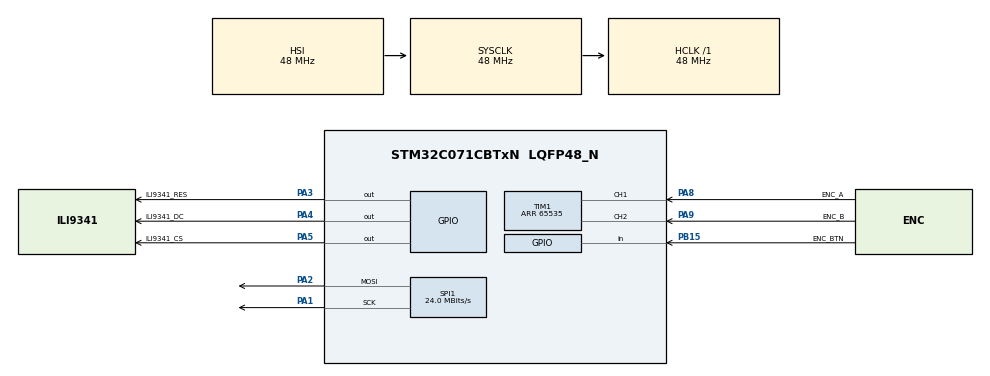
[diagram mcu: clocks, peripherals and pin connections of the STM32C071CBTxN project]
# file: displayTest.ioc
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Mcu.Family=STM32C0
Mcu.Name=STM32C071CBTxN
Mcu.Package=LQFP48_N
PA1.GPIO_Speed=GPIO_SPEED_FREQ_VERY_HIGH
PA1.Mode=TX_Only_Simplex_Unidirect_Master
PA1.Signal=SPI1_SCK
PA13.Mode=Serial_Wire
PA13.Signal=DEBUG_SWDIO
PA14-BOOT0.Mode=Serial_Wire
PA14-BOOT0.Signal=DEBUG_SWCLK
PA2.GPIO_Speed=GPIO_SPEED_FREQ_VERY_HIGH
PA2.Mode=TX_Only_Simplex_Unidirect_Master
PA2.Signal=SPI1_MOSI
PA3.GPIO_Label=ILI9341_RES
PA3.GPIO_Speed=GPIO_SPEED_FREQ_VERY_HIGH
PA3.PinState=GPIO_PIN_SET
PA3.Signal=GPIO_Output
PA4.GPIO_Label=ILI9341_DC
PA4.GPIO_Speed=GPIO_SPEED_FREQ_VERY_HIGH
PA4.Signal=GPIO_Output
PA5.GPIO_Label=ILI9341_CS
PA5.GPIO_Speed=GPIO_SPEED_FREQ_VERY_HIGH
PA5.PinState=GPIO_PIN_SET
PA5.Signal=GPIO_Output
PA8.GPIO_Label=ENC_A
PA8.Signal=S_TIM1_CH1
PA9.GPIO_Label=ENC_B
PA9.Signal=S_TIM1_CH2
PB15.GPIO_Label=ENC_BTN
PB15.Signal=GPIO_Input
ProjectManager.HeapSize=0x200
ProjectManager.StackSize=0x400
ProjectManager.TargetToolchain=STM32CubeIDE
RCC.ADCFreq_Value=48000000
RCC.AHBFreq_Value=48000000
RCC.CortexFreq_Value=48000000
RCC.EXTERNAL_CLOCK_VALUE=12288000
RCC.HCLKFreq_Value=48000000
RCC.HSE_VALUE=8000000
RCC.HSI48_VALUE=48000000
RCC.HSISYSCLKDivider=RCC_HSI_DIV1
RCC.HSI_VALUE=48000000
RCC.LSE_VALUE=32768
RCC.SYSCLKFreq_VALUE=48000000
SH.S_TIM1_CH1.0=TIM1_CH1,Encoder_Interface
SH.S_TIM1_CH2.0=TIM1_CH2,Encoder_Interface
SPI1.BaudRatePrescaler=SPI_BAUDRATEPRESCALER_2
SPI1.CLKPhase=SPI_PHASE_1EDGE
SPI1.CLKPolarity=SPI_POLARITY_HIGH
SPI1.CalculateBaudRate=24.0 MBits/s
SPI1.DataSize=SPI_DATASIZE_8BIT
SPI1.Direction=SPI_DIRECTION_2LINES
SPI1.FirstBit=SPI_FIRSTBIT_MSB
SPI1.Mode=SPI_MODE_MASTER
SPI1.VirtualType=VM_MASTER
TIM1.EncoderMode=TIM_ENCODERMODE_TI12
TIM1.Period=65535
board=custom

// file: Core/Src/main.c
/* USER CODE BEGIN Header */
/**
  ******************************************************************************
  * @file           : main.c
  * @brief          : Main program body
  ******************************************************************************
  * @attention
  *
  * Copyright (c) 2026 STMicroelectronics.
  * All rights reserved.
  *
  * This software is licensed under terms that can be found in the LICENSE file
  * in the root directory of this software component.
  * If no LICENSE file comes with this software, it is provided AS-IS.
  *
  ******************************************************************************
  */
/* USER CODE END Header */
#include "main.h"

/* USER CODE BEGIN Includes */
#include "ili9341.h"
#include "fonts.h"
#include "gui.h" // Включваме новия UI модул
#include "simulator.h"
/* USER CODE END Includes */

/* USER CODE BEGIN PD */
//#define SWEEP_STEP_V   0.8

/* USER CODE END PD */

SPI_HandleTypeDef hspi1;

TIM_HandleTypeDef htim1;

/* USER CODE BEGIN PV */
extern SPI_HandleTypeDef hspi1;

float simulated_voltage = 0.0;
float simulated_current = 0.0;
int selected_menu = 0; // 0=LOAD OFF, 1=SWEEP, 2=SET I, 3=SETTINGS
int selected_menu_old = 0;

typedef enum {
    STATE_INIT,
    STATE_MEASURE_DATA,
    STATE_UPDATE_GUI,
    STATE_PROCESS_MENU,
    STATE_DELAY
} SystemState_t;

#define MAX_TEST_POINTS 350
static uint32_t test_v_arr[MAX_TEST_POINTS];
static uint32_t test_i_arr[MAX_TEST_POINTS];
static uint16_t test_points_count = 0;

/* USER CODE END PV */

void SystemClock_Config(void);
static void MX_GPIO_Init(void);
static void MX_SPI1_Init(void);
static void MX_TIM1_Init(void);

int main(void)
{

  /* USER CODE BEGIN 1 */
    SystemState_t current_state = STATE_INIT;

    GraphMode_t current_graph_mode = GRAPH_MODE_LINES; // Или GRAPH_MODE_LINES
    static uint16_t encoder_prev_count = 0;
    static uint8_t btn_prev_state = GPIO_PIN_SET; // Започва High заради Pull-up
    static int8_t encoder_substeps = 0; // Акумулатор за остатъчните импулси

  /* USER CODE END 1 */

  /* MCU Configuration--------------------------------------------------------*/

  /* Reset of all peripherals, Initializes the Flash interface and the Systick. */
  HAL_Init();

  /* Configure the system clock */
  SystemClock_Config();

  /* Initialize all configured peripherals */
  MX_GPIO_Init();
  MX_SPI1_Init();
  MX_TIM1_Init();
  /* USER CODE BEGIN 2 */
  // Стартираме хардуерния енкодер на двата канала
      HAL_TIM_Encoder_Start(&htim1, TIM_CHANNEL_ALL);
      // Вземаме първоначалната стойност
      encoder_prev_count = __HAL_TIM_GET_COUNTER(&htim1);
  /* USER CODE END 2 */

  /* Infinite loop */
  /* USER CODE BEGIN WHILE */
    while (1)
        {
            switch (current_state)
            {
                case STATE_INIT:
                	GUI_InitSystem();
					Simulator_Init();

					// ТЕСТ: Смяна на симулирания панел на 10W (Voc=15V, Vmp=12V, Isc=0.8A)
					SolarPanelConfig_t test_panel = {
						.voc_mV = 22000,
						.vmp_mV = 19220,
						.isc_uA = 1500000
					};
					Simulator_SetConfig(test_panel);

                    // 1. Генерираме масива еднократно при стартиране
                    bool cycle_reset = false;
                    test_points_count = 0;

                    while (!cycle_reset && test_points_count < MAX_TEST_POINTS) {
                        Simulator_GetNextMeasurement(&test_v_arr[test_points_count],
                                                     &test_i_arr[test_points_count],
                                                     &cycle_reset);
                        if (!cycle_reset) {
                            test_points_count++;
                        }
                    }

                    current_state = STATE_UPDATE_GUI; // Директно отиваме да чертаем
                    break;

                case STATE_MEASURE_DATA:
                    // Тъй като вече имаме готовия масив, за теста тук не правим нищо.
                    // В реалния код тук ще се чете ADC-то.
                    current_state = STATE_UPDATE_GUI;
                    break;

                case STATE_UPDATE_GUI:
                    // 2. Показваме стойностите на точката с максимална мощност (Vmp = 17.5V)
                    // За теста, това е някъде в последната третина на масива
					if (test_points_count > 0) {
						uint16_t vmp_index = (test_points_count * 8) / 10;
						GUI_UpdateDashboard(test_v_arr[vmp_index], test_i_arr[vmp_index]);
					}

					// ПОДАВАМЕ РЕЖИМА current_graph_mode КАТО ПОСЛЕДЕН АРГУМЕНТ
					GUI_PlotCurveArray(test_v_arr, test_i_arr, test_points_count, current_graph_mode);

					current_state = STATE_PROCESS_MENU;
					break;
                case STATE_PROCESS_MENU:
				{
					// ==========================================
					// 1. ОТЧИТАНЕ НА ВЪРТЕНЕТО (С АКУМУЛАТОР)
					// ==========================================
					uint16_t current_count = __HAL_TIM_GET_COUNTER(&htim1);

					// Вземаме мигновената разлика от предното извикване
					int16_t step_delta = (int16_t)current_count - (int16_t)encoder_prev_count;
					encoder_prev_count = current_count; // Веднага синхронизираме брояча!

					// Добавяме новите стъпки към акумулатора
					encoder_substeps += step_delta;

					// Проверка за завъртане НАДЯСНО (напред)
					while (encoder_substeps >= 4) {
						selected_menu++;
						if (selected_menu >= MENU_COUNT) {
							selected_menu = 0;
						}
						encoder_substeps -= 4;
					}

					// Проверка за завъртане НАЛЯВО (назад)
					while (encoder_substeps <= -4) {
						selected_menu--;
						if (selected_menu < 0) {
							selected_menu = MENU_COUNT - 1;
						}
						encoder_substeps += 4;
					}

					// ==========================================
					// 2. ОТЧИТАНЕ НА БУТОНА (КЛИКВАНЕ)
					// ==========================================
					uint8_t current_btn_state = HAL_GPIO_ReadPin(ENC_BTN_GPIO_Port, ENC_BTN_Pin);
					if (current_btn_state == GPIO_PIN_RESET && btn_prev_state == GPIO_PIN_SET) {
						// Обработка на натискането
					}
					btn_prev_state = current_btn_state;

					// Преначертаване на менюто
					GUI_ProcessMenu();
					current_state = STATE_DELAY;
					break;
				}

                case STATE_DELAY:
                    HAL_Delay(100); // Слагаме 100ms пауза (10 кадъра в секунда)
                    current_state = STATE_MEASURE_DATA;
                    break;

                default:
                    current_state = STATE_INIT;
                    break;
            }
    /* USER CODE END WHILE */

    }
}

void SystemClock_Config(void)
{
  RCC_OscInitTypeDef RCC_OscInitStruct = {0};
  RCC_ClkInitTypeDef RCC_ClkInitStruct = {0};

  __HAL_FLASH_SET_LATENCY(FLASH_LATENCY_1);

  /** Initializes the RCC Oscillators according to the specified parameters
  * in the RCC_OscInitTypeDef structure.
  */
  RCC_OscInitStruct.OscillatorType = RCC_OSCILLATORTYPE_HSI;
  RCC_OscInitStruct.HSIState = RCC_HSI_ON;
  RCC_OscInitStruct.HSIDiv = RCC_HSI_DIV1;
  RCC_OscInitStruct.HSICalibrationValue = RCC_HSICALIBRATION_DEFAULT;
  if (HAL_RCC_OscConfig(&RCC_OscInitStruct) != HAL_OK)
  {
    Error_Handler();
  }

  /** Initializes the CPU, AHB and APB buses clocks
  */
  RCC_ClkInitStruct.ClockType = RCC_CLOCKTYPE_HCLK|RCC_CLOCKTYPE_SYSCLK
                              |RCC_CLOCKTYPE_PCLK1;
  RCC_ClkInitStruct.SYSCLKSource = RCC_SYSCLKSOURCE_HSI;
  RCC_ClkInitStruct.SYSCLKDivider = RCC_SYSCLK_DIV1;
  RCC_ClkInitStruct.AHBCLKDivider = RCC_HCLK_DIV1;
  RCC_ClkInitStruct.APB1CLKDivider = RCC_APB1_DIV1;

  if (HAL_RCC_ClockConfig(&RCC_ClkInitStruct, FLASH_LATENCY_1) != HAL_OK)
  {
    Error_Handler();
  }
}

static void MX_SPI1_Init(void)
{

  /* SPI1 parameter configuration*/
  hspi1.Instance = SPI1;
  hspi1.Init.Mode = SPI_MODE_MASTER;
  hspi1.Init.Direction = SPI_DIRECTION_2LINES;
  hspi1.Init.DataSize = SPI_DATASIZE_8BIT;
  hspi1.Init.CLKPolarity = SPI_POLARITY_HIGH;
  hspi1.Init.CLKPhase = SPI_PHASE_1EDGE;
  hspi1.Init.NSS = SPI_NSS_SOFT;
  hspi1.Init.BaudRatePrescaler = SPI_BAUDRATEPRESCALER_2;
  hspi1.Init.FirstBit = SPI_FIRSTBIT_MSB;
  hspi1.Init.TIMode = SPI_TIMODE_DISABLE;
  hspi1.Init.CRCCalculation = SPI_CRCCALCULATION_DISABLE;
  hspi1.Init.CRCPolynomial = 7;
  hspi1.Init.CRCLength = SPI_CRC_LENGTH_DATASIZE;
  hspi1.Init.NSSPMode = SPI_NSS_PULSE_ENABLE;
  if (HAL_SPI_Init(&hspi1) != HAL_OK)
  {
    Error_Handler();
  }

}

static void MX_TIM1_Init(void)
{

  TIM_Encoder_InitTypeDef sConfig = {0};
  TIM_MasterConfigTypeDef sMasterConfig = {0};

  htim1.Instance = TIM1;
  htim1.Init.Prescaler = 0;
  htim1.Init.CounterMode = TIM_COUNTERMODE_UP;
  htim1.Init.Period = 65535;
  htim1.Init.ClockDivision = TIM_CLOCKDIVISION_DIV1;
  htim1.Init.RepetitionCounter = 0;
  htim1.Init.AutoReloadPreload = TIM_AUTORELOAD_PRELOAD_DISABLE;
  sConfig.EncoderMode = TIM_ENCODERMODE_TI12;
  sConfig.IC1Polarity = TIM_ICPOLARITY_RISING;
  sConfig.IC1Selection = TIM_ICSELECTION_DIRECTTI;
  sConfig.IC1Prescaler = TIM_ICPSC_DIV1;
  sConfig.IC1Filter = 0;
  sConfig.IC2Polarity = TIM_ICPOLARITY_RISING;
  sConfig.IC2Selection = TIM_ICSELECTION_DIRECTTI;
  sConfig.IC2Prescaler = TIM_ICPSC_DIV1;
  sConfig.IC2Filter = 0;
  if (HAL_TIM_Encoder_Init(&htim1, &sConfig) != HAL_OK)
  {
    Error_Handler();
  }
  sMasterConfig.MasterOutputTrigger = TIM_TRGO_RESET;
  sMasterConfig.MasterOutputTrigger2 = TIM_TRGO2_RESET;
  sMasterConfig.MasterSlaveMode = TIM_MASTERSLAVEMODE_DISABLE;
  if (HAL_TIMEx_MasterConfigSynchronization(&htim1, &sMasterConfig) != HAL_OK)
  {
    Error_Handler();
  }

}

static void MX_GPIO_Init(void)
{
  GPIO_InitTypeDef GPIO_InitStruct = {0};

  /* GPIO Ports Clock Enable */
  __HAL_RCC_GPIOA_CLK_ENABLE();
  __HAL_RCC_GPIOB_CLK_ENABLE();

  /*Configure GPIO pin Output Level */
  HAL_GPIO_WritePin(GPIOA, ILI9341_RES_Pin|ILI9341_CS_Pin, GPIO_PIN_SET);

  /*Configure GPIO pin Output Level */
  HAL_GPIO_WritePin(ILI9341_DC_GPIO_Port, ILI9341_DC_Pin, GPIO_PIN_RESET);

  /*Configure GPIO pins : ILI9341_RES_Pin ILI9341_DC_Pin ILI9341_CS_Pin */
  GPIO_InitStruct.Pin = ILI9341_RES_Pin|ILI9341_DC_Pin|ILI9341_CS_Pin;
  GPIO_InitStruct.Mode = GPIO_MODE_OUTPUT_PP;
  GPIO_InitStruct.Pull = GPIO_NOPULL;
  GPIO_InitStruct.Speed = GPIO_SPEED_FREQ_VERY_HIGH;
  HAL_GPIO_Init(GPIOA, &GPIO_InitStruct);

  /*Configure GPIO pin : ENC_BTN_Pin */
  GPIO_InitStruct.Pin = ENC_BTN_Pin;
  GPIO_InitStruct.Mode = GPIO_MODE_INPUT;
  GPIO_InitStruct.Pull = GPIO_NOPULL;
  HAL_GPIO_Init(ENC_BTN_GPIO_Port, &GPIO_InitStruct);

}

void Error_Handler(void)
{
  __disable_irq();
  while (1)
  {
  }
}
